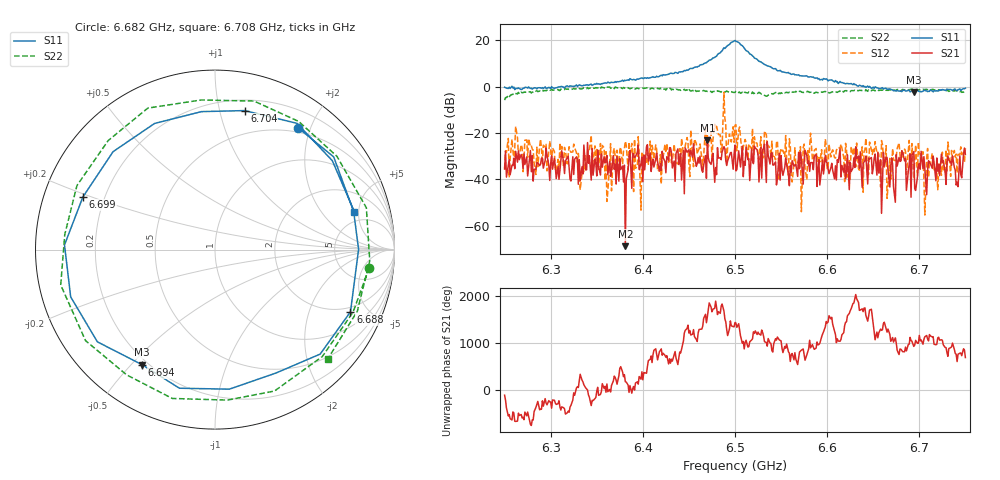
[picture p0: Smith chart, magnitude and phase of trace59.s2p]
# Hz S RI R 50
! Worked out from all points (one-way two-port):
!   401 points, 6.25 GHz to 6.75 GHz, reference 50 ohm
!   highest |S21| = -23.22 dB at 6.47 GHz (marker M1); lowest = -68.7 dB at 6.381 GHz (marker M2)
!   lowest |S11| = -2.4 dB at 6.694 GHz (marker M3), VSWR 7.30, Z = 8.88 - j26.9 ohm
!   |S11| at or under -10 dB: nowhere
!   |S22| runs from -5.9 to -0.2 dB; largest |S21 - S12| = 0.8
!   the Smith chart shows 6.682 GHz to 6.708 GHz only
!   S11 on the Smith chart (normalised r, x): 6.682 GHz: 0.44, +1.82; 6.688 GHz: 1.72, -3.85; 6.694 GHz: 0.18, -0.54; 6.699 GHz: 0.12, +0.19; 6.704 GHz: 0.29, +1.19; 6.708 GHz: 3.74, +4.47
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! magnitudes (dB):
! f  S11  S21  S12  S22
! 6.25 GHz  -0.3  -35.5  -35.2  -5.9
! 6.324 GHz  0.1  -30.2  -28.1  -1.0
! 6.334 GHz  0.4  -34.5  -37.3  -1.0
! 6.341 GHz  0.5  -33.0  -26.7  -0.9
! 6.364 GHz  1.5  -32.2  -33.6  -0.2
! 6.381 GHz  2.5  -68.7  -23.5  -0.8
! 6.392 GHz  2.7  -30.2  -35.2  -1.0
! 6.418 GHz  4.4  -36.4  -35.9  -1.1
! 6.47 GHz  10.7  -23.2  -20.4  -2.1
! 6.5 GHz  19.8  -25.2  -16.7  -2.5
! 6.575 GHz  4.5  -32.5  -24.8  -2.5
! 6.584 GHz  4.0  -32.7  -31.2  -2.3
! 6.661 GHz  -1.1  -28.4  -30.1  -1.6
! 6.668 GHz  -1.0  -43.2  -30.9  -1.4
! 6.682 GHz  -1.7  -28.5  -30.3  -1.3
! 6.688 GHz  -1.6  -36.7  -27.9  -1.5
! 6.694 GHz  -2.4  -28.0  -39.5  -1.5
! 6.699 GHz  -2.0  -33.9  -23.8  -1.5
! 6.704 GHz  -2.0  -35.3  -28.0  -1.2
! 6.708 GHz  -1.9  -46.5  -30.8  -1.2
! 6.74 GHz  -1.7  -42.4  -29.1  -1.9
! 6.75 GHz  -0.7  -29.2  -26.6  -2.2
